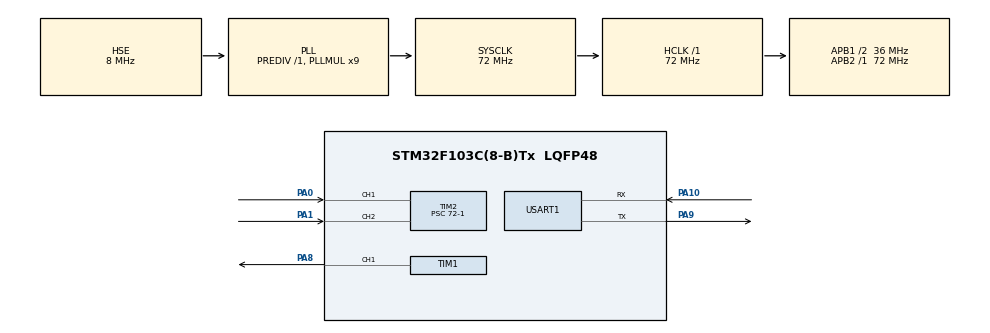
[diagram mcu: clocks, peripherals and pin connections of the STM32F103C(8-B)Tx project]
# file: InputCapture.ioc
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Mcu.Family=STM32F1
Mcu.Name=STM32F103C(8-B)Tx
Mcu.Package=LQFP48
NVIC.PriorityGroup=NVIC_PRIORITYGROUP_4
NVIC.TIM2_IRQn=true\:0\:0\:false\:false\:true\:true\:true\:true
PA0-WKUP.Signal=S_TIM2_CH1_ETR
PA1.Signal=S_TIM2_CH2
PA10.Mode=Asynchronous
PA10.Signal=USART1_RX
PA8.Signal=S_TIM1_CH1
PA9.Mode=Asynchronous
PA9.Signal=USART1_TX
PD0-OSC_IN.Mode=HSE-External-Oscillator
PD0-OSC_IN.Signal=RCC_OSC_IN
PD1-OSC_OUT.Mode=HSE-External-Oscillator
PD1-OSC_OUT.Signal=RCC_OSC_OUT
ProjectManager.HeapSize=0x200
ProjectManager.StackSize=0x400
ProjectManager.TargetToolchain=STM32CubeIDE
RCC.AHBFreq_Value=72000000
RCC.APB1CLKDivider=RCC_HCLK_DIV2
RCC.APB1Freq_Value=36000000
RCC.APB1TimFreq_Value=72000000
RCC.APB2Freq_Value=72000000
RCC.APB2TimFreq_Value=72000000
RCC.HCLKFreq_Value=72000000
RCC.PLLMUL=RCC_PLL_MUL9
RCC.PLLSourceVirtual=RCC_PLLSOURCE_HSE
RCC.SYSCLKFreq_VALUE=72000000
RCC.SYSCLKSource=RCC_SYSCLKSOURCE_PLLCLK
RCC.USBFreq_Value=72000000
SH.S_TIM1_CH1.0=TIM1_CH1,PWM Generation1 CH1
SH.S_TIM2_CH1_ETR.0=TIM2_CH1,Input_Capture1_from_TI1
SH.S_TIM2_CH2.0=TIM2_CH2,Input_Capture2_from_TI2
TIM1.Channel-PWM\ Generation1\ CH1=TIM_CHANNEL_1
TIM1.Period=100-1
TIM1.Prescaler=72-1
TIM2.Channel-Input_Capture1_from_TI1=TIM_CHANNEL_1
TIM2.Channel-Input_Capture2_from_TI2=TIM_CHANNEL_2
TIM2.ICPolarity_CH1=TIM_INPUTCHANNELPOLARITY_RISING
TIM2.ICPolarity_CH2=TIM_INPUTCHANNELPOLARITY_FALLING
TIM2.Prescaler=72-1
USART1.VirtualMode=VM_ASYNC
VP_TIM1_VS_ClockSourceINT.Mode=Internal
VP_TIM2_VS_ClockSourceINT.Mode=Internal
board=custom

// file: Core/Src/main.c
/* USER CODE BEGIN Header */
/**
 ******************************************************************************
 * @file           : main.c
 * @brief          : Main program body
 ******************************************************************************
 * @attention
 *
 * Copyright (c) 2023 STMicroelectronics.
 * All rights reserved.
 *
 * This software is licensed under terms that can be found in the LICENSE file
 * in the root directory of this software component.
 * If no LICENSE file comes with this software, it is provided AS-IS.
 *
 ******************************************************************************
 */
/* USER CODE END Header */
#include "main.h"

/* USER CODE BEGIN Includes */
#include "stdio.h"
/* USER CODE END Includes */

/* USER CODE BEGIN PM */
#define	TIMCLOCK 72000000
#define PRESCALER 72
/* USER CODE END PM */

TIM_HandleTypeDef htim1;
TIM_HandleTypeDef htim2;

UART_HandleTypeDef huart1;

void SystemClock_Config(void);
static void MX_GPIO_Init(void);
static void MX_TIM1_Init(void);
static void MX_TIM2_Init(void);
static void MX_USART1_UART_Init(void);

/* USER CODE BEGIN 0 */
uint32_t pre_IC_Val1 = 0;
uint32_t now_IC_Val1 = 0;
uint32_t pre_IC_Val2 = 0;
uint32_t now_IC_Val2 = 0;

uint32_t diff_frequency = 0;
uint32_t diff_width = 0;
float frequency = 0;
float dutyCycle = 0;

int isFirstCaptured = 0;

float uWidth = 0;
void HAL_TIM_IC_CaptureCallback(TIM_HandleTypeDef *htim) {

	if (htim->Channel == HAL_TIM_ACTIVE_CHANNEL_1) {
		if (isFirstCaptured == 0) {
			pre_IC_Val1 = HAL_TIM_ReadCapturedValue(htim, TIM_CHANNEL_1);
		} else if (isFirstCaptured == 1) {
			now_IC_Val1 = HAL_TIM_ReadCapturedValue(htim, TIM_CHANNEL_1);
		}
	} else if (htim->Channel == HAL_TIM_ACTIVE_CHANNEL_2) {
		if (isFirstCaptured == 0) {
			pre_IC_Val2 = HAL_TIM_ReadCapturedValue(htim, TIM_CHANNEL_2);
			isFirstCaptured = 1;

		} else if (isFirstCaptured == 1) {
			now_IC_Val2 = HAL_TIM_ReadCapturedValue(htim, TIM_CHANNEL_2);
			TIM2->CNT=0;
			isFirstCaptured = 0;

		}
	}
}

int __io_putchar(int ch) {
	(void) HAL_UART_Transmit(&huart1, (uint8_t*) &ch, 1, 100);
	return ch;
}

/* USER CODE END 0 */

int main(void) {

	/* MCU Configuration--------------------------------------------------------*/

	/* Reset of all peripherals, Initializes the Flash interface and the Systick. */
	HAL_Init();

	/* Configure the system clock */
	SystemClock_Config();

	/* Initialize all configured peripherals */
	MX_GPIO_Init();
	MX_TIM1_Init();
	MX_TIM2_Init();
	MX_USART1_UART_Init();
	/* USER CODE BEGIN 2 */
	TIM1->CCR1 = 30;
	HAL_TIM_PWM_Start(&htim1, TIM_CHANNEL_1);
	HAL_TIM_IC_Start_IT(&htim2, TIM_CHANNEL_1);
	HAL_TIM_IC_Start_IT(&htim2, TIM_CHANNEL_2);
	/* USER CODE END 2 */

	/* Infinite loop */
	/* USER CODE BEGIN WHILE */
	while (1) {

		diff_frequency = now_IC_Val2 - pre_IC_Val2;

		float refClock = (float) TIMCLOCK / (float) PRESCALER;
		frequency = diff_frequency / refClock;
		//printf("diff of frequency: %f \r\n", diff_frequency);

		if (now_IC_Val2 > now_IC_Val1) {
			diff_width = now_IC_Val2 - now_IC_Val1;
		} else if (now_IC_Val2 < now_IC_Val1) {
			diff_width = diff_frequency - (now_IC_Val1 - now_IC_Val2);
		}

		float mFactor = 1000000 / refClock;
		uWidth = diff_width * mFactor;

		printf("uWidth: %f \r\n", uWidth);
		/* USER CODE END WHILE */

	}
}

void SystemClock_Config(void) {
	RCC_OscInitTypeDef RCC_OscInitStruct = { 0 };
	RCC_ClkInitTypeDef RCC_ClkInitStruct = { 0 };

	/** Initializes the RCC Oscillators according to the specified parameters
	 * in the RCC_OscInitTypeDef structure.
	 */
	RCC_OscInitStruct.OscillatorType = RCC_OSCILLATORTYPE_HSE;
	RCC_OscInitStruct.HSEState = RCC_HSE_ON;
	RCC_OscInitStruct.HSEPredivValue = RCC_HSE_PREDIV_DIV1;
	RCC_OscInitStruct.HSIState = RCC_HSI_ON;
	RCC_OscInitStruct.PLL.PLLState = RCC_PLL_ON;
	RCC_OscInitStruct.PLL.PLLSource = RCC_PLLSOURCE_HSE;
	RCC_OscInitStruct.PLL.PLLMUL = RCC_PLL_MUL9;
	if (HAL_RCC_OscConfig(&RCC_OscInitStruct) != HAL_OK) {
		Error_Handler();
	}

	/** Initializes the CPU, AHB and APB buses clocks
	 */
	RCC_ClkInitStruct.ClockType = RCC_CLOCKTYPE_HCLK | RCC_CLOCKTYPE_SYSCLK
			| RCC_CLOCKTYPE_PCLK1 | RCC_CLOCKTYPE_PCLK2;
	RCC_ClkInitStruct.SYSCLKSource = RCC_SYSCLKSOURCE_PLLCLK;
	RCC_ClkInitStruct.AHBCLKDivider = RCC_SYSCLK_DIV1;
	RCC_ClkInitStruct.APB1CLKDivider = RCC_HCLK_DIV2;
	RCC_ClkInitStruct.APB2CLKDivider = RCC_HCLK_DIV1;

	if (HAL_RCC_ClockConfig(&RCC_ClkInitStruct, FLASH_LATENCY_2) != HAL_OK) {
		Error_Handler();
	}
}

static void MX_TIM1_Init(void) {

	TIM_ClockConfigTypeDef sClockSourceConfig = { 0 };
	TIM_MasterConfigTypeDef sMasterConfig = { 0 };
	TIM_OC_InitTypeDef sConfigOC = { 0 };
	TIM_BreakDeadTimeConfigTypeDef sBreakDeadTimeConfig = { 0 };

	htim1.Instance = TIM1;
	htim1.Init.Prescaler = 72 - 1;
	htim1.Init.CounterMode = TIM_COUNTERMODE_UP;
	htim1.Init.Period = 100 - 1;
	htim1.Init.ClockDivision = TIM_CLOCKDIVISION_DIV1;
	htim1.Init.RepetitionCounter = 0;
	htim1.Init.AutoReloadPreload = TIM_AUTORELOAD_PRELOAD_DISABLE;
	if (HAL_TIM_Base_Init(&htim1) != HAL_OK) {
		Error_Handler();
	}
	sClockSourceConfig.ClockSource = TIM_CLOCKSOURCE_INTERNAL;
	if (HAL_TIM_ConfigClockSource(&htim1, &sClockSourceConfig) != HAL_OK) {
		Error_Handler();
	}
	if (HAL_TIM_PWM_Init(&htim1) != HAL_OK) {
		Error_Handler();
	}
	sMasterConfig.MasterOutputTrigger = TIM_TRGO_RESET;
	sMasterConfig.MasterSlaveMode = TIM_MASTERSLAVEMODE_DISABLE;
	if (HAL_TIMEx_MasterConfigSynchronization(&htim1, &sMasterConfig)
			!= HAL_OK) {
		Error_Handler();
	}
	sConfigOC.OCMode = TIM_OCMODE_PWM1;
	sConfigOC.Pulse = 0;
	sConfigOC.OCPolarity = TIM_OCPOLARITY_HIGH;
	sConfigOC.OCNPolarity = TIM_OCNPOLARITY_HIGH;
	sConfigOC.OCFastMode = TIM_OCFAST_DISABLE;
	sConfigOC.OCIdleState = TIM_OCIDLESTATE_RESET;
	sConfigOC.OCNIdleState = TIM_OCNIDLESTATE_RESET;
	if (HAL_TIM_PWM_ConfigChannel(&htim1, &sConfigOC, TIM_CHANNEL_1)
			!= HAL_OK) {
		Error_Handler();
	}
	sBreakDeadTimeConfig.OffStateRunMode = TIM_OSSR_DISABLE;
	sBreakDeadTimeConfig.OffStateIDLEMode = TIM_OSSI_DISABLE;
	sBreakDeadTimeConfig.LockLevel = TIM_LOCKLEVEL_OFF;
	sBreakDeadTimeConfig.DeadTime = 0;
	sBreakDeadTimeConfig.BreakState = TIM_BREAK_DISABLE;
	sBreakDeadTimeConfig.BreakPolarity = TIM_BREAKPOLARITY_HIGH;
	sBreakDeadTimeConfig.AutomaticOutput = TIM_AUTOMATICOUTPUT_DISABLE;
	if (HAL_TIMEx_ConfigBreakDeadTime(&htim1, &sBreakDeadTimeConfig)
			!= HAL_OK) {
		Error_Handler();
	}
	HAL_TIM_MspPostInit(&htim1);

}

static void MX_TIM2_Init(void) {

	TIM_ClockConfigTypeDef sClockSourceConfig = { 0 };
	TIM_MasterConfigTypeDef sMasterConfig = { 0 };
	TIM_IC_InitTypeDef sConfigIC = { 0 };

	htim2.Instance = TIM2;
	htim2.Init.Prescaler = 72 - 1;
	htim2.Init.CounterMode = TIM_COUNTERMODE_UP;
	htim2.Init.Period = 65535;
	htim2.Init.ClockDivision = TIM_CLOCKDIVISION_DIV1;
	htim2.Init.AutoReloadPreload = TIM_AUTORELOAD_PRELOAD_DISABLE;
	if (HAL_TIM_Base_Init(&htim2) != HAL_OK) {
		Error_Handler();
	}
	sClockSourceConfig.ClockSource = TIM_CLOCKSOURCE_INTERNAL;
	if (HAL_TIM_ConfigClockSource(&htim2, &sClockSourceConfig) != HAL_OK) {
		Error_Handler();
	}
	if (HAL_TIM_IC_Init(&htim2) != HAL_OK) {
		Error_Handler();
	}
	sMasterConfig.MasterOutputTrigger = TIM_TRGO_RESET;
	sMasterConfig.MasterSlaveMode = TIM_MASTERSLAVEMODE_DISABLE;
	if (HAL_TIMEx_MasterConfigSynchronization(&htim2, &sMasterConfig)
			!= HAL_OK) {
		Error_Handler();
	}
	sConfigIC.ICPolarity = TIM_INPUTCHANNELPOLARITY_RISING;
	sConfigIC.ICSelection = TIM_ICSELECTION_DIRECTTI;
	sConfigIC.ICPrescaler = TIM_ICPSC_DIV1;
	sConfigIC.ICFilter = 0;
	if (HAL_TIM_IC_ConfigChannel(&htim2, &sConfigIC, TIM_CHANNEL_1) != HAL_OK) {
		Error_Handler();
	}
	sConfigIC.ICPolarity = TIM_INPUTCHANNELPOLARITY_FALLING;
	if (HAL_TIM_IC_ConfigChannel(&htim2, &sConfigIC, TIM_CHANNEL_2) != HAL_OK) {
		Error_Handler();
	}

}

static void MX_USART1_UART_Init(void) {

	huart1.Instance = USART1;
	huart1.Init.BaudRate = 115200;
	huart1.Init.WordLength = UART_WORDLENGTH_8B;
	huart1.Init.StopBits = UART_STOPBITS_1;
	huart1.Init.Parity = UART_PARITY_NONE;
	huart1.Init.Mode = UART_MODE_TX_RX;
	huart1.Init.HwFlowCtl = UART_HWCONTROL_NONE;
	huart1.Init.OverSampling = UART_OVERSAMPLING_16;
	if (HAL_UART_Init(&huart1) != HAL_OK) {
		Error_Handler();
	}

}

static void MX_GPIO_Init(void) {

	/* GPIO Ports Clock Enable */
	__HAL_RCC_GPIOD_CLK_ENABLE();
	__HAL_RCC_GPIOA_CLK_ENABLE();

}

void Error_Handler(void) {
	__disable_irq();
	while (1) {
	}
}
